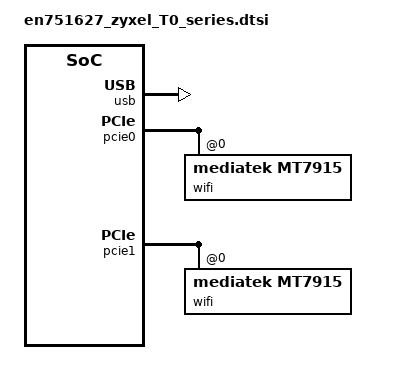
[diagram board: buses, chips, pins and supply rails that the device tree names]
// SPDX-License-Identifier: (GPL-2.0-only OR BSD-2-Clause)
/*
 * Copyright (C) 2026 Alan <alan@Riffraff>
 * Copyright (C) 2026 OpenWrt.org
 *
 * ============================================================================
 * INTERMEDIATE SERIES SUMMARY: ZYXEL EN751627 WI-FI 6 (T0) GENERATION
 * ============================================================================
 * Core Baseline: Inherits en751627_zyxel.dtsi
 * Wireless Driver Target: MediaTek mt79 Modern Multi-User MIMO Frameworks
 * Sub-Fleet Scope: Governs 330x Mainstream, 3100 Extender, and 560x Premium tiers
 */

#include "en751627_zyxel.dtsi"


&usb {
	status = "okay";
};

/* target/linux/econet/dts/en751627_zyxel_T0_series.dtsi */
&pcie0 {
    status = "okay";
    pcie-bridge {
        wifi@0,0 {
            compatible = "mediatek,mt7915";
            reg = <0x0000 0 0 0 0>;
            /* Point cleanly to the early block window inside romfile */
            mediatek,mtd-eeprom = <&nand 0x040000>; 
        };
    };
};

&pcie1 {
    status = "okay";
    pcie-bridge {
        wifi@0,0 {
            compatible = "mediatek,mt7915";
            reg = <0x0000 0 0 0 0>;
            /* Offset cleanly inside the 0x400000 size limit of the partition */
            mediatek,mtd-eeprom = <&nand 0x042000>; 
        };
    };
};
